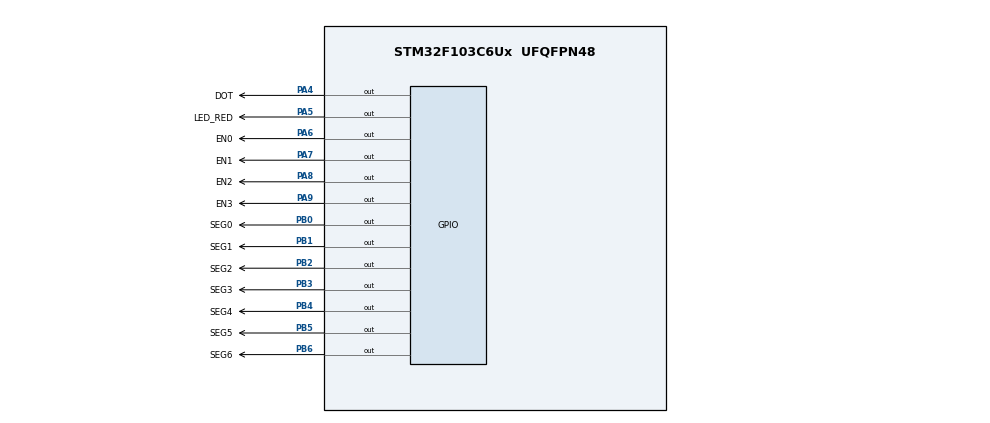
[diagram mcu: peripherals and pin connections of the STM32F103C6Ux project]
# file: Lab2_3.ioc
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Mcu.Family=STM32F1
Mcu.Name=STM32F103C6Ux
Mcu.Package=UFQFPN48
NVIC.PriorityGroup=NVIC_PRIORITYGROUP_4
NVIC.TIM2_IRQn=true\:0\:0\:false\:false\:true\:true\:true\:true
PA4.GPIO_Label=DOT
PA4.Signal=GPIO_Output
PA5.GPIO_Label=LED_RED
PA5.Signal=GPIO_Output
PA6.GPIO_Label=EN0
PA6.Signal=GPIO_Output
PA7.GPIO_Label=EN1
PA7.Signal=GPIO_Output
PA8.GPIO_Label=EN2
PA8.Signal=GPIO_Output
PA9.GPIO_Label=EN3
PA9.Signal=GPIO_Output
PB0.GPIO_Label=SEG0
PB0.Signal=GPIO_Output
PB1.GPIO_Label=SEG1
PB1.Signal=GPIO_Output
PB2.GPIO_Label=SEG2
PB2.Signal=GPIO_Output
PB3.GPIO_Label=SEG3
PB3.Signal=GPIO_Output
PB4.GPIO_Label=SEG4
PB4.Signal=GPIO_Output
PB5.GPIO_Label=SEG5
PB5.Signal=GPIO_Output
PB6.GPIO_Label=SEG6
PB6.Signal=GPIO_Output
ProjectManager.HeapSize=0x200
ProjectManager.StackSize=0x400
ProjectManager.TargetToolchain=STM32CubeIDE
RCC.APB1Freq_Value=8000000
RCC.APB2Freq_Value=8000000
TIM2.Period=9
TIM2.Prescaler=7999
VP_TIM2_VS_ClockSourceINT.Mode=Internal
board=custom

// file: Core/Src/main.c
/* USER CODE BEGIN Header */
/**
  ******************************************************************************
  * @file           : main.c
  * @brief          : Main program body
  ******************************************************************************
  * @attention
  *
  * Copyright (c) 2023 STMicroelectronics.
  * All rights reserved.
  *
  * This software is licensed under terms that can be found in the LICENSE file
  * in the root directory of this software component.
  * If no LICENSE file comes with this software, it is provided AS-IS.
  *
  ******************************************************************************
  */
/* USER CODE END Header */
#include "main.h"
#include "7ledsegment.h"
#include "software_timer.h"

TIM_HandleTypeDef htim2;

void SystemClock_Config(void);
static void MX_GPIO_Init(void);
static void MX_TIM2_Init(void);

/* USER CODE BEGIN 0 */

int led_buffer[4] = {9, 8, 7, 5};
struct seven_led led;
//const int MAX_LED = 4;
void update7SEG(int index);
/* USER CODE END 0 */

int main(void)
{

  /* MCU Configuration--------------------------------------------------------*/

  /* Reset of all peripherals, Initializes the Flash interface and the Systick. */
  HAL_Init();

  /* USER CODE BEGIN Init */
  int led_status = 1;
  init7SEG(&led, GPIOB, GPIO_PIN_0, GPIO_PIN_1, GPIO_PIN_2, GPIO_PIN_3, GPIO_PIN_4, GPIO_PIN_5, GPIO_PIN_6);

  /* USER CODE END Init */

  /* Configure the system clock */
  SystemClock_Config();

  /* Initialize all configured peripherals */
  MX_GPIO_Init();
  MX_TIM2_Init();
  /* USER CODE BEGIN 2 */
  HAL_TIM_Base_Start_IT(&htim2);

  int index_led = 0;

  /* USER CODE END 2 */

  /* Infinite loop */
  /* USER CODE BEGIN WHILE */
  setTimer1(100);
  setTimer2(50);
while (1)
{
/* USER CODE END WHILE */
  if (timer1_flag == 1) {
	  			HAL_GPIO_TogglePin(GPIOA, GPIO_PIN_5);
	  			HAL_GPIO_TogglePin(GPIOA, GPIO_PIN_4);
	  			setTimer1(100);
	  		}
  switch (led_status) {
  	  case 1:
  		  HAL_GPIO_WritePin(GPIOA, GPIO_PIN_6, 0);
  		  HAL_GPIO_WritePin(GPIOA, GPIO_PIN_7, 1);
  		  HAL_GPIO_WritePin(GPIOA, GPIO_PIN_8, 1);
  		  HAL_GPIO_WritePin(GPIOA, GPIO_PIN_9, 1);
  		  index_led=led_status-1;
  		  update7SEG(index_led);
  		  if (timer2_flag == 1) {
  			led_status = 2;
  			setTimer2(50);
  		  }
  		  break;
  	  case 2:
  		  HAL_GPIO_WritePin(GPIOA, GPIO_PIN_6, 1);
  		  HAL_GPIO_WritePin(GPIOA, GPIO_PIN_7, 0);
  		  HAL_GPIO_WritePin(GPIOA, GPIO_PIN_8, 1);
  		  HAL_GPIO_WritePin(GPIOA, GPIO_PIN_9, 1);
  		  index_led=led_status-1;
  		  update7SEG(index_led);
  		  if (timer2_flag == 1) {
  			led_status = 3;
  			setTimer2(50);
  		  }
  		  break;
  	  case 3:
  		  HAL_GPIO_WritePin(GPIOA, GPIO_PIN_6, 1);
  		  HAL_GPIO_WritePin(GPIOA, GPIO_PIN_7, 1);
  		  HAL_GPIO_WritePin(GPIOA, GPIO_PIN_8, 0);
  		  HAL_GPIO_WritePin(GPIOA, GPIO_PIN_9, 1);
  		  index_led=led_status-1;
  		  update7SEG(index_led);
  		  if (timer2_flag == 1) {
  			led_status = 4;
  			setTimer2(50);
  		  }
  		  break;
  	  case 4:
  		  HAL_GPIO_WritePin(GPIOA, GPIO_PIN_6, 1);
  		  HAL_GPIO_WritePin(GPIOA, GPIO_PIN_7, 1);
  		  HAL_GPIO_WritePin(GPIOA, GPIO_PIN_8, 1);
  		  HAL_GPIO_WritePin(GPIOA, GPIO_PIN_9, 0);
  		  index_led=led_status-1;
  		  update7SEG(index_led);
  		  if (timer2_flag == 1) {
  			led_status = 1;
  			setTimer2(50);
  		  }
  		  break;
  	  default:
  		  HAL_GPIO_WritePin(GPIOA, GPIO_PIN_6, 0);
  		  HAL_GPIO_WritePin(GPIOA, GPIO_PIN_7, 0);
  		  HAL_GPIO_WritePin(GPIOA, GPIO_PIN_8, 0);
  		  HAL_GPIO_WritePin(GPIOA, GPIO_PIN_9, 0);
  		  break;
  		  }
}
}

void SystemClock_Config(void)
{
  RCC_OscInitTypeDef RCC_OscInitStruct = {0};
  RCC_ClkInitTypeDef RCC_ClkInitStruct = {0};

  /** Initializes the RCC Oscillators according to the specified parameters
  * in the RCC_OscInitTypeDef structure.
  */
  RCC_OscInitStruct.OscillatorType = RCC_OSCILLATORTYPE_HSI;
  RCC_OscInitStruct.HSIState = RCC_HSI_ON;
  RCC_OscInitStruct.HSICalibrationValue = RCC_HSICALIBRATION_DEFAULT;
  RCC_OscInitStruct.PLL.PLLState = RCC_PLL_NONE;
  if (HAL_RCC_OscConfig(&RCC_OscInitStruct) != HAL_OK)
  {
    Error_Handler();
  }

  /** Initializes the CPU, AHB and APB buses clocks
  */
  RCC_ClkInitStruct.ClockType = RCC_CLOCKTYPE_HCLK|RCC_CLOCKTYPE_SYSCLK
                              |RCC_CLOCKTYPE_PCLK1|RCC_CLOCKTYPE_PCLK2;
  RCC_ClkInitStruct.SYSCLKSource = RCC_SYSCLKSOURCE_HSI;
  RCC_ClkInitStruct.AHBCLKDivider = RCC_SYSCLK_DIV1;
  RCC_ClkInitStruct.APB1CLKDivider = RCC_HCLK_DIV1;
  RCC_ClkInitStruct.APB2CLKDivider = RCC_HCLK_DIV1;

  if (HAL_RCC_ClockConfig(&RCC_ClkInitStruct, FLASH_LATENCY_0) != HAL_OK)
  {
    Error_Handler();
  }
}

static void MX_TIM2_Init(void)
{

  TIM_ClockConfigTypeDef sClockSourceConfig = {0};
  TIM_MasterConfigTypeDef sMasterConfig = {0};

  htim2.Instance = TIM2;
  htim2.Init.Prescaler = 7999;
  htim2.Init.CounterMode = TIM_COUNTERMODE_UP;
  htim2.Init.Period = 9;
  htim2.Init.ClockDivision = TIM_CLOCKDIVISION_DIV1;
  htim2.Init.AutoReloadPreload = TIM_AUTORELOAD_PRELOAD_DISABLE;
  if (HAL_TIM_Base_Init(&htim2) != HAL_OK)
  {
    Error_Handler();
  }
  sClockSourceConfig.ClockSource = TIM_CLOCKSOURCE_INTERNAL;
  if (HAL_TIM_ConfigClockSource(&htim2, &sClockSourceConfig) != HAL_OK)
  {
    Error_Handler();
  }
  sMasterConfig.MasterOutputTrigger = TIM_TRGO_RESET;
  sMasterConfig.MasterSlaveMode = TIM_MASTERSLAVEMODE_DISABLE;
  if (HAL_TIMEx_MasterConfigSynchronization(&htim2, &sMasterConfig) != HAL_OK)
  {
    Error_Handler();
  }

}

static void MX_GPIO_Init(void)
{
  GPIO_InitTypeDef GPIO_InitStruct = {0};

  /* GPIO Ports Clock Enable */
  __HAL_RCC_GPIOA_CLK_ENABLE();
  __HAL_RCC_GPIOB_CLK_ENABLE();

  /*Configure GPIO pin Output Level */
  HAL_GPIO_WritePin(GPIOA, DOT_Pin|LED_RED_Pin|EN0_Pin|EN1_Pin
                          |EN2_Pin|EN3_Pin, GPIO_PIN_RESET);

  /*Configure GPIO pin Output Level */
  HAL_GPIO_WritePin(GPIOB, SEG0_Pin|SEG1_Pin|SEG2_Pin|SEG3_Pin
                          |SEG4_Pin|SEG5_Pin|SEG6_Pin, GPIO_PIN_RESET);

  /*Configure GPIO pins : DOT_Pin LED_RED_Pin EN0_Pin EN1_Pin
                           EN2_Pin EN3_Pin */
  GPIO_InitStruct.Pin = DOT_Pin|LED_RED_Pin|EN0_Pin|EN1_Pin
                          |EN2_Pin|EN3_Pin;
  GPIO_InitStruct.Mode = GPIO_MODE_OUTPUT_PP;
  GPIO_InitStruct.Pull = GPIO_NOPULL;
  GPIO_InitStruct.Speed = GPIO_SPEED_FREQ_LOW;
  HAL_GPIO_Init(GPIOA, &GPIO_InitStruct);

  /*Configure GPIO pins : SEG0_Pin SEG1_Pin SEG2_Pin SEG3_Pin
                           SEG4_Pin SEG5_Pin SEG6_Pin */
  GPIO_InitStruct.Pin = SEG0_Pin|SEG1_Pin|SEG2_Pin|SEG3_Pin
                          |SEG4_Pin|SEG5_Pin|SEG6_Pin;
  GPIO_InitStruct.Mode = GPIO_MODE_OUTPUT_PP;
  GPIO_InitStruct.Pull = GPIO_NOPULL;
  GPIO_InitStruct.Speed = GPIO_SPEED_FREQ_LOW;
  HAL_GPIO_Init(GPIOB, &GPIO_InitStruct);

}

/* USER CODE BEGIN 4 */
void HAL_TIM_PeriodElapsedCallback(TIM_HandleTypeDef *htim)
{
	timerRun1();
	timerRun2();
}

void update7SEG(int index){
      switch (index){
          case 0:
        	  display7SEG(&led, led_buffer[0]);
              break;
          case 1:
        	  display7SEG(&led, led_buffer[1]);
              break;
          case 2:
        	  display7SEG(&led, led_buffer[2]);
              break;
          case 3:
        	  display7SEG(&led, led_buffer[3]);
              break;
          default:
              break;
      }
}
/* USER CODE END 4 */

void Error_Handler(void)
{
  __disable_irq();
  while (1)
  {
  }
}
